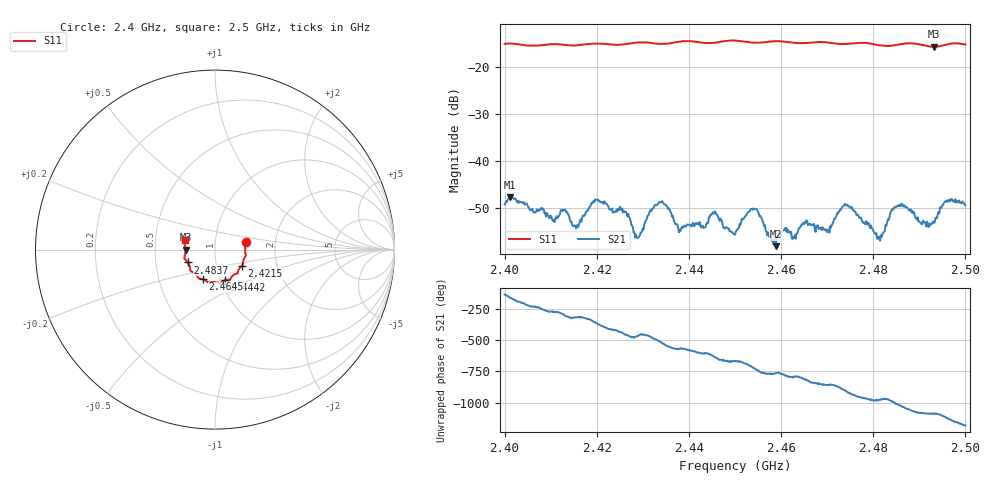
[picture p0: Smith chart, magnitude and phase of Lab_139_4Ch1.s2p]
# Hz S RI R 50
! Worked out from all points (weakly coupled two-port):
!   601 points, 2.4 GHz to 2.5 GHz, reference 50 ohm
!   highest |S21| = -47.82 dB at 2.4012 GHz (marker M1); lowest = -58.2 dB at 2.4588 GHz (marker M2)
!   lowest |S11| = -15.7 dB at 2.4932 GHz (marker M3), VSWR 1.39, Z = 35.9 - j0.0454 ohm
!   |S11| at or under -10 dB: start of sweep to end of sweep
!   S12 and S22 are empty: the file has one direction only
!   S11 on the Smith chart (normalised r, x): 2.4 GHz: 1.41, +0.12; 2.4215 GHz: 1.33, -0.25; 2.4442 GHz: 1.05, -0.37; 2.4645 GHz: 0.83, -0.29; 2.4837 GHz: 0.73, -0.11; 2.5 GHz: 0.71, +0.07
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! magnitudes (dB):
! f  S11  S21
! 2.4 GHz  -15.1  -49.3
! 2.4012 GHz  -15.0  -47.8
! 2.4167 GHz  -15.3  -53.0
! 2.4215 GHz  -15.1  -49.2
! 2.4263 GHz  -15.2  -50.9
! 2.4288 GHz  -14.8  -56.5
! 2.4333 GHz  -15.1  -49.2
! 2.4382 GHz  -14.6  -55.0
! 2.4442 GHz  -15.0  -53.2
! 2.45 GHz  -14.4  -55.8
! 2.4543 GHz  -14.9  -50.3
! 2.4588 GHz  -14.5  -58.2
! 2.4645 GHz  -15.0  -53.8
! 2.4667 GHz  -14.8  -53.8
! 2.4703 GHz  -14.9  -54.7
! 2.4742 GHz  -15.1  -49.5
! 2.4813 GHz  -15.4  -56.5
! 2.4833 GHz  -15.6  -52.6
! 2.4837 GHz  -15.5  -51.4
! 2.4932 GHz  -15.7  -53.3
! 2.4958 GHz  -15.3  -48.5
! 2.5 GHz  -15.3  -49.5
